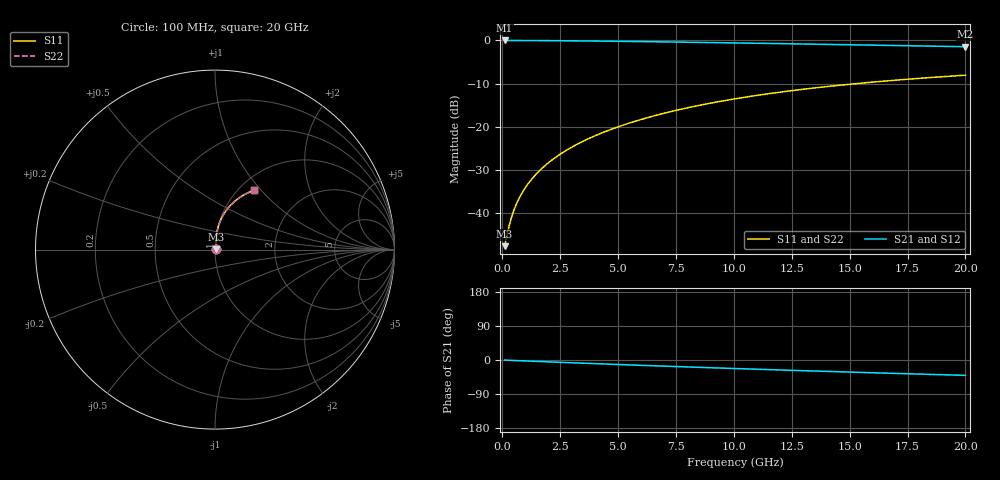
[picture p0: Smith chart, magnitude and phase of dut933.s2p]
! Touchstone file exported from HFSS 2024.1.0
!  File:  C:/UserFiles/LocalFiles/RDL_TSV_Batchsim/temp_RDL_top_933_1779937168.aedt
!  Generated:  11:02:31 AM May 28, 2026
!  Design:  RDL_top
!  Project:  temp_RDL_top_933_1779937168
!  Setup:  Setup1
!  Solution:  Sweep
! Variables:
!  dtsv = 10.80580581um
!  hbump = 3um
!  htsv = 66.98um
!  ldown = 100um
!  lrdl = 526.68um
!  p = 40
!  p1 = 59.16um
!  rhole = 1um
!  t = 450um
!  tdown = 3.915915916um
!  trdl = 2.34um
!  wdown = 15.38538539um
!  wrdl = 24.12um
# GHz S MA R 50.000000
! Terminal data exported
! Port[1] = Box2_T1
! Port[2] = Box2_T2
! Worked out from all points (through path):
!   200 points, 100 MHz to 20 GHz, reference 50 ohm
!   highest |S21| = -0.03 dB at 100 MHz (marker M1); lowest = -1.5 dB at 20 GHz (marker M2)
!   group delay of S21, straight-line fit = 5.59 ps
!   lowest |S11| = -47.6 dB at 100 MHz (marker M3), VSWR 1.01, Z = 50.4 + j0.21 ohm
!   |S11| at or under -10 dB: start of sweep to 15.31 GHz
!   |S22| runs from -47.6 to -8.1 dB; largest |S21 - S12| = 5.4e-15
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0.1  0.004167 30.0  0.9964 -0.3  0.9964 -0.3  0.004167 30.0
! Gamma 0 0 0 0
! Port Impedance 50 0 50 0
0.3  0.007234 57.9  0.9961 -0.8  0.9961 -0.8  0.007234 57.9
0.4  0.009006 63.7  0.9959 -1.0  0.9959 -1.0  0.009006 63.7
0.5  0.0108 67.5  0.9956 -1.3  0.9956 -1.3  0.0108 67.5
0.6  0.0126 70.2  0.9954 -1.5  0.9954 -1.5  0.0126 70.2
0.8  0.0162 74.0  0.995 -2.0  0.995 -2.0  0.0162 74.0
1.1  0.02166 77.6  0.9942 -2.7  0.9942 -2.7  0.02166 77.5
1.3  0.02534 79.1  0.9937 -3.2  0.9937 -3.2  0.02534 79.1
1.6  0.03094 80.8  0.9928 -4.0  0.9928 -4.0  0.03094 80.8
2.1  0.04046 82.6  0.991 -5.2  0.991 -5.2  0.04046 82.6
2.7  0.05218 83.7  0.9884 -6.6  0.9884 -6.6  0.05218 83.7
3.5  0.06832 84.2  0.9842 -8.5  0.9842 -8.5  0.06831 84.2
4.2  0.08287 84.1  0.9799 -10.1  0.9799 -10.1  0.08286 84.1
5  0.09992 83.6  0.9744 -11.9  0.9744 -11.9  0.0999 83.6
5.9  0.1195 82.6  0.9678 -13.9  0.9678 -13.9  0.1195 82.6
6.8  0.1393 81.3  0.9607 -15.9  0.9607 -15.9  0.1393 81.3
8.4  0.1747 78.6  0.9475 -19.2  0.9475 -19.2  0.1747 78.6
10.1  0.2118 75.4  0.9328 -22.6  0.9328 -22.6  0.2117 75.3
11.7  0.2455 72.2  0.9186 -25.8  0.9186 -25.8  0.2454 72.2
13.4  0.2799 68.9  0.9033 -29.0  0.9033 -29.0  0.2797 68.8
16.7  0.3412 62.6  0.8733 -34.9  0.8733 -34.9  0.341 62.5
20  0.395 56.7  0.8433 -40.6  0.8433 -40.6  0.3948 56.6
